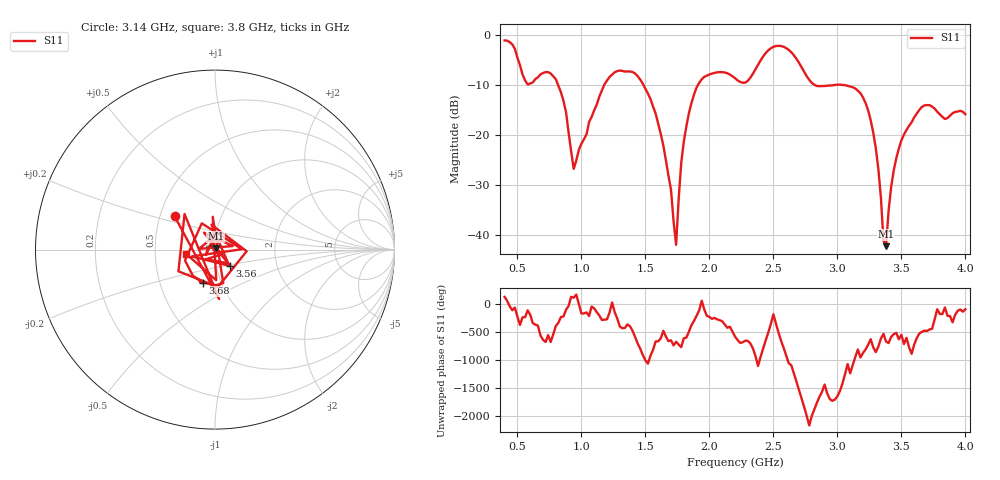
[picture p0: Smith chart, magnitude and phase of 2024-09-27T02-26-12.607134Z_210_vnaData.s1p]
!Created with skrf (http://scikit-rf.org).
# Hz S RI R 50.0
!freq ReS11 ImS11
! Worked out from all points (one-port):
!   181 points, 400 MHz to 4 GHz, reference 50 ohm
!   lowest |S11| = -42.1 dB at 3.38 GHz (marker M1), VSWR 1.02, Z = 50.4 + j0.658 ohm
!   |S11| at or under -10 dB: 817.6 MHz to 1.178 GHz (360.9 MHz wide, 36.2 % of centre); 1.484 GHz to 1.911 GHz (427.2 MHz wide, 25.2 % of centre); 3.033 GHz to end of sweep (the widest 3 of 4)
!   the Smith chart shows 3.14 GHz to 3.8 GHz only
!   S11 on the Smith chart (normalised r, x): 3.14 GHz: 0.60, +0.24; 3.56 GHz: 1.16, -0.21; 3.68 GHz: 0.82, -0.32; 3.8 GHz: 0.72, -0.04
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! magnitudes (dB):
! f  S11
! 400 MHz  -1.2
! 580 MHz  -9.9
! 740 MHz  -7.5
! 860 MHz  -13.2
! 940 MHz  -26.7
! 1.18 GHz  -9.9
! 1.3 GHz  -7.2
! 1.58 GHz  -15.7
! 1.7 GHz  -30.9
! 1.74 GHz  -41.9
! 1.76 GHz  -32.7
! 1.8 GHz  -21.3
! 1.9 GHz  -10.5
! 2.2 GHz  -8.7
! 2.5 GHz  -2.4
! 2.66 GHz  -4.1
! 2.82 GHz  -10.0
! 3.1 GHz  -10.3
! 3.14 GHz  -10.7
! 3.28 GHz  -19.5
! 3.32 GHz  -26.8
! 3.36 GHz  -41.0
! 3.38 GHz  -42.1
! 3.44 GHz  -27.1
! 3.56 GHz  -18.2
! 3.68 GHz  -14.1
! 3.8 GHz  -15.9
! 4 GHz  -15.9
